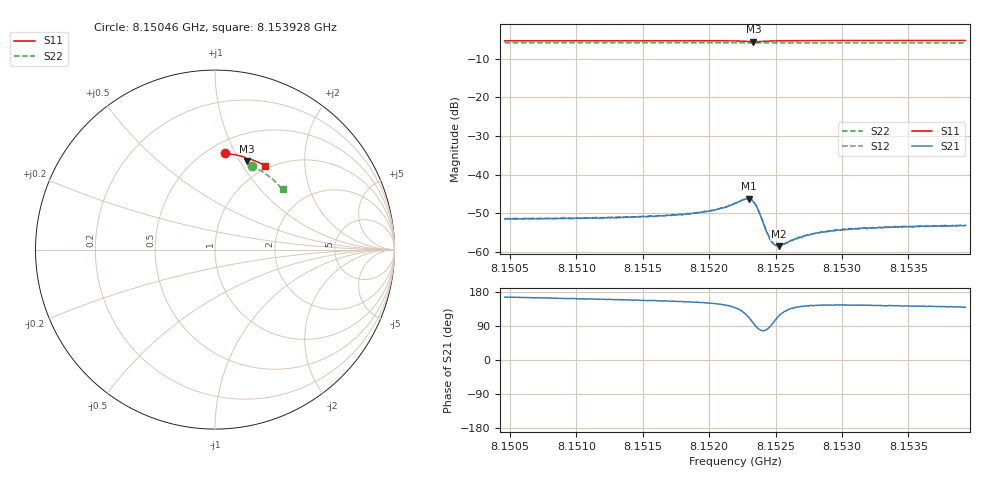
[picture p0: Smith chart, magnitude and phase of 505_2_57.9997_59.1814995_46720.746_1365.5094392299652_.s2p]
#  HZ  S  RI  R  50.00
! Rohde & Schwarz Vector Network Analyzer
! Rohde-Schwarz,ZNB20-2Port,1311601062101988,3.16
! Created: UTC 3/21/2024, 1:12:57 AM
! freq[Hz]  re:S11  im:S11  re:S21  im:S21  re:S12  im:S12  re:S22  im:S22
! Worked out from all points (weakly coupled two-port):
!   401 points, 8.15046 GHz to 8.153928 GHz, reference 50 ohm
!   highest |S21| = -46.30 dB at 8.152298 GHz (marker M1); lowest = -58.6 dB at 8.152524 GHz (marker M2)
!   lowest |S11| = -5.6 dB at 8.152333 GHz (marker M3), VSWR 3.20, Z = 39.3 + j53.5 ohm
!   |S11| at or under -10 dB: nowhere
!   |S22| runs from -5.9 to -5.9 dB; largest |S21 - S12| = 0.00012
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8.15046e9  0.0545 0.5359  -0.00257 0.000644  -0.0026 0.000688  0.2034 0.4673
8.151041e9  0.095 0.5312  -0.00259 0.000864  -0.00254 0.000907  0.2366 0.4505
8.1516219e9  0.1353 0.5232  -0.00267 0.00117  -0.00268 0.00121  0.2684 0.4313
8.1518127e9  0.1487 0.5197  -0.00272 0.00138  -0.00274 0.00139  0.2786 0.4244
8.1520208e9  0.164 0.5146  -0.00296 0.00174  -0.00293 0.00178  0.2895 0.4167
8.1521162e9  0.1714 0.5112  -0.00307 0.00216  -0.00309 0.00219  0.2943 0.4131
8.1521942e9  0.1776 0.5066  -0.00316 0.00282  -0.00317 0.00286  0.2982 0.41
8.1522636e9  0.1811 0.4996  -0.00267 0.00391  -0.00265 0.00396  0.3015 0.4071
8.1522983e9  0.1798 0.4954  -0.00183 0.00449  -0.00176 0.00455  0.3032 0.4056
8.152333e9  0.176 0.4937  -0.000539 0.00439  -0.000479 0.00445  0.3047 0.4043
8.1523676e9  0.1728 0.4965  0.00042 0.00345  0.000485 0.00348  0.3062 0.4032
8.152437e9  0.1764 0.5034  0.000258 0.00172  0.000275 0.00174  0.3097 0.4008
8.152463e9  0.1791 0.5047  1.75e-05 0.00141  2.87e-05 0.0014  0.311 0.3997
8.1524804e9  0.1809 0.5052  -0.000178 0.00128  -0.000161 0.00126  0.3119 0.3992
8.1524977e9  0.1826 0.5053  -0.00034 0.00117  -0.000289 0.00119  0.3128 0.3984
8.1525237e9  0.1851 0.5055  -0.000515 0.00106  -0.000502 0.00107  0.3142 0.3972
8.1526364e9  0.195 0.504  -0.00107 0.000993  -0.00103 0.000992  0.3197 0.3927
8.1527058e9  0.2003 0.5027  -0.00123 0.000981  -0.00126 0.00101  0.3229 0.3898
8.1527752e9  0.2055 0.501  -0.00138 0.000993  -0.00137 0.00101  0.3264 0.387
8.1529919e9  0.2204 0.4955  -0.00157 0.00107  -0.00156 0.00112  0.3365 0.3777
8.1533561e9  0.2443 0.485  -0.0017 0.00123  -0.00169 0.00125  0.3531 0.3615
8.1539284e9  0.2794 0.4666  -0.00167 0.00142  -0.00162 0.00146  0.3772 0.3349
